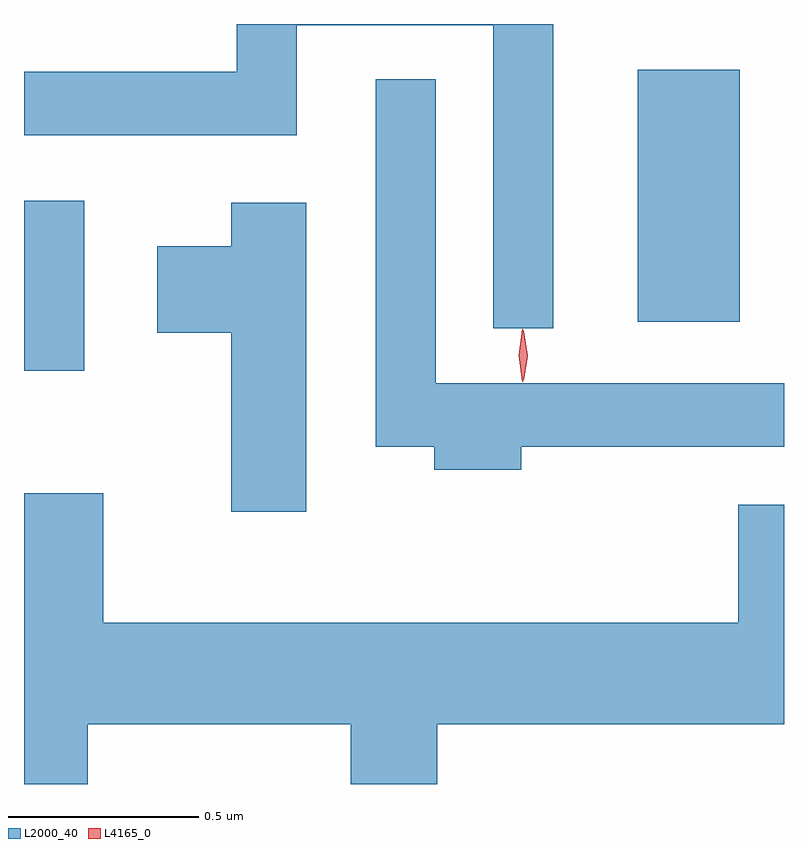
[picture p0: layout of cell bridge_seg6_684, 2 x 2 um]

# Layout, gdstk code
import gdstk
lib = gdstk.Library(unit=1e-6, precision=1e-09)
def R(c, l, rs):  # rectangles x0, y0, x1, y1
    for r in rs: c.add(gdstk.rectangle(r[:2], r[2:], *l))
def P(c, l, *ps):  # polygons
    for p in ps: c.add(gdstk.Polygon(p, *l))
L2000_40 = (2000, 40)
L4165_0 = (4165, 0)

bridge_seg6_684 = lib.new_cell('bridge_seg6_684')
R(bridge_seg6_684, L2000_40, [(306.511,1650.866,306.669,1651.314), (308.126,1650.996,308.394,1651.659)])
P(bridge_seg6_684, L2000_40, [(307.904,1651.779),(307.071,1651.779),(307.071,1651.654),(306.511,1651.654),(306.511,1651.486),(307.229,1651.486),(307.229,1651.776),(307.746,1651.776),(307.746,1650.978),(307.904,1650.978)],
  [(307.819,1650.666),(308.511,1650.666),(308.511,1650.834),(307.594,1650.834),(307.594,1651.633),(307.436,1651.633),(307.436,1650.666),(307.591,1650.666),(307.591,1650.606),(307.819,1650.606)],
  [(307.254,1651.309),(307.056,1651.309),(307.056,1651.194),(306.861,1651.194),(306.861,1650.966),(307.056,1650.966),(307.056,1650.496),(307.254,1650.496)],
  [(306.679,1649.936),(307.371,1649.936),(307.371,1649.779),(307.599,1649.779),(307.599,1649.936),(308.511,1649.936),(308.511,1650.514),(308.391,1650.514),(308.391,1650.204),(306.719,1650.204),(306.719,1650.544),(306.511,1650.544),(306.511,1649.779),(306.679,1649.779)])
P(bridge_seg6_684, L4165_0, [(307.823,1650.837),(307.822,1650.838),(307.813,1650.907),(307.822,1650.976),(307.823,1650.976),(307.823,1650.976),(307.833,1650.907),(307.823,1650.838)],
  [(307.826,1650.839),(307.826,1650.84),(307.816,1650.906),(307.825,1650.972),(307.826,1650.973),(307.826,1650.972),(307.836,1650.906),(307.826,1650.84)])

lib.write_gds('bridge_seg6_684.gds')
